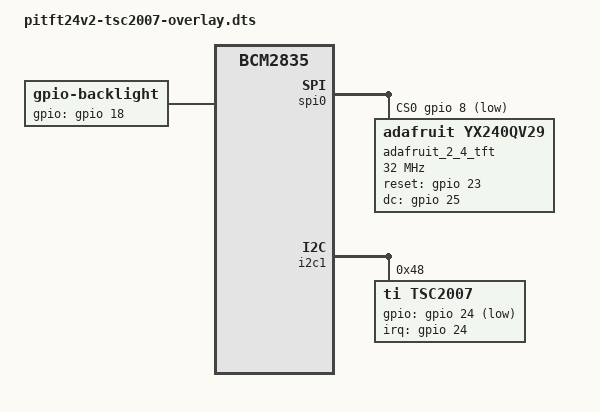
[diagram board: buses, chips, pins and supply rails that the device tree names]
/*
 * Device Tree overlay for Adafruit PiTFT 2.4" resistive touch screen with tsc2007
 *
 */

/dts-v1/;
/plugin/;

/ {
	compatible = "brcm,bcm2835";

	fragment@0 {
		target = <&spi0>;
		__overlay__ {
			status = "okay";
		};
	};

	fragment@2 {
		target = <&spidev0>;
		__overlay__ {
			status = "disabled";
		};
	};

	fragment@3 {
		target = <&spidev1>;
		__overlay__ {
			status = "disabled";
		};
	};

	fragment@4 {
		target = <&gpio>;
		__overlay__ {
			adafruit_2_4_tft_pins: adafruit_2_4_tft_pins {
				brcm,pins = <25 24 18>;
				brcm,function = <1 0 1>; /* out in out*/
				brcm,pull = <0 2 2>; /* none up up */
			};
		};
	};

	fragment@5 {
		target = <&spi0>;
		__overlay__ {
			/* needed to avoid dtc warning */
			#address-cells = <1>;
			#size-cells = <0>;
			cs-gpios = <&gpio 8 1>;

			adafruit_2_4_tft: adafruit_2_4_tft@0{
				compatible = "adafruit,yx240qv29";
				reg = <0>;
				pinctrl-names = "default";
				pinctrl-0 = <&adafruit_2_4_tft_pins>;

				spi-max-frequency = <32000000>;
				rotation = <90>;
				reset-gpios = <&gpio 23 0>;
				dc-gpios = <&gpio 25 0>;
			};
		};
	};

	fragment@7 {
		target = <&i2c1>;
		__overlay__ {
			#address-cells = <1>;
			#size-cells = <0>;

			status = "okay";

			tsc2007: tsc2007@48 {
				compatible = "ti,tsc2007";
				reg = <0x48>;
				ti,fuzzx = <4>;
				ti,fuzzy = <4>;
				ti,max-rt = <3700>;
				ti,fuzzz = <4>;
				ti,x-plate-ohms = <180>;

				panel = <&adafruit_2_4_tft>;
				pinctrl-0 = <&adafruit_2_4_tft_pins>;
				interrupt-parent = <&gpio>;
				interrupts = <24 2>;
                gpios = <&gpio 24 1>;

			};
		};
	};

	fragment@8 {
		target-path = "/soc";
		__overlay__ {
			backlight: backlight {
				compatible = "gpio-backlight";
				pinctrl-0 = <&adafruit_2_4_tft_pins>;
				gpios = <&gpio 18 2>;
				default-on;
			};
		};
	};

	__overrides__ {
		speed =     <&adafruit_2_4_tft>,"spi-max-frequency:0";
		rotate =    <&adafruit_2_4_tft>,"rotation:0";
		fps =       <&adafruit_2_4_tft>,"fps:0";
		debug =     <&adafruit_2_4_tft>,"debug:0";
		// xohms =     <&tsc2007>,"touchscreen-x-plate-ohms;0";
		// swapxy =    <&tsc2007>,"touchscreen-swapped-x-y?";
	};

};
